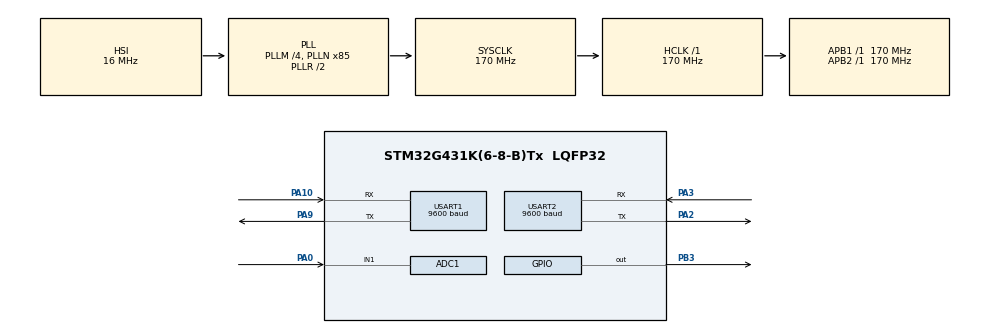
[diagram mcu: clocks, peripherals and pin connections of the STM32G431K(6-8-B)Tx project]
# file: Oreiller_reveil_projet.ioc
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ADC1.Channel-0\#ChannelRegularConversion=ADC_CHANNEL_1
ADC1.NbrOfConversionFlag=1
ADC1.OffsetNumber-0\#ChannelRegularConversion=ADC_OFFSET_NONE
ADC1.Rank-0\#ChannelRegularConversion=1
ADC1.SamplingTime-0\#ChannelRegularConversion=ADC_SAMPLETIME_2CYCLES_5
ADC1.master=1
Mcu.Family=STM32G4
Mcu.Name=STM32G431K(6-8-B)Tx
Mcu.Package=LQFP32
NUCLEO-G431KB.LD2=true
NUCLEO-G431KB.VCP=true
NVIC.PriorityGroup=NVIC_PRIORITYGROUP_4
PA0.Mode=IN1-Single-Ended
PA0.Signal=ADC1_IN1
PA10.Mode=Asynchronous
PA10.Signal=USART1_RX
PA13.GPIO_Label=T_SWDIO
PA13.Signal=SYS_JTMS-SWDIO
PA14.GPIO_Label=T_SWCLK
PA14.Signal=SYS_JTCK-SWCLK
PA2.Mode=Asynchronous
PA2.Signal=USART2_TX
PA3.Mode=Asynchronous
PA3.Signal=USART2_RX
PA9.Mode=Asynchronous
PA9.Signal=USART1_TX
PB3.Signal=GPIO_Output
PB8-BOOT0.Signal=S_TIM16_CH1
ProjectManager.HeapSize=0x200
ProjectManager.StackSize=0x400
ProjectManager.TargetToolchain=STM32CubeIDE
RCC.ADC12Freq_Value=170000000
RCC.AHBFreq_Value=170000000
RCC.APB1Freq_Value=170000000
RCC.APB1TimFreq_Value=170000000
RCC.APB2Freq_Value=170000000
RCC.APB2TimFreq_Value=170000000
RCC.CortexFreq_Value=170000000
RCC.EXTERNAL_CLOCK_VALUE=12288000
RCC.HCLKFreq_Value=170000000
RCC.HSE_VALUE=8000000
RCC.HSI48_VALUE=48000000
RCC.HSI_VALUE=16000000
RCC.LSE_VALUE=32768
RCC.PLLM=RCC_PLLM_DIV4
RCC.PLLN=85
RCC.SYSCLKFreq_VALUE=170000000
RCC.SYSCLKSource=RCC_SYSCLKSOURCE_PLLCLK
RCC.USBFreq_Value=170000000
RCC.VCOOutputFreq_Value=340000000
TIM16.PeriodNoDither=1000-1
TIM16.Prescaler=170-1
USART1.BaudRate=9600
USART1.VirtualMode-Asynchronous=VM_ASYNC
USART2.BaudRate=9600
USART2.VirtualMode-Asynchronous=VM_ASYNC
VP_NUCLEO-G431KB_VS_BSP_COMMON.Mode=COMMON
VP_RTC_VS_RTC_Activate.Mode=RTC_Enabled
VP_RTC_VS_RTC_Calendar.Mode=RTC_Calendar
VP_SYS_VS_DBSignals.Mode=DisableDeadBatterySignals
VP_TIM16_VS_ClockSourceINT.Mode=Enable_Timer
board=NUCLEO-G431KB

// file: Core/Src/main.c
/* USER CODE BEGIN Header */
/**
  ******************************************************************************
  * @file           : main.c
  * @brief          : Main program body
  ******************************************************************************
  * @attention
  *
  * Copyright (c) 2026 STMicroelectronics.
  * All rights reserved.
  *
  * This software is licensed under terms that can be found in the LICENSE file
  * in the root directory of this software component.
  * If no LICENSE file comes with this software, it is provided AS-IS.
  *
  ******************************************************************************
  */
/* USER CODE END Header */
#include "main.h"

/* USER CODE BEGIN Includes */
#include <stdio.h>
#include <string.h>
/* USER CODE END Includes */

COM_InitTypeDef BspCOMInit;

ADC_HandleTypeDef hadc1;

RTC_HandleTypeDef hrtc;

TIM_HandleTypeDef htim16;

UART_HandleTypeDef huart1;
UART_HandleTypeDef huart2;

/* USER CODE BEGIN PV */

uint8_t byte_recu;
RTC_TimeTypeDef sTime;
RTC_DateTypeDef sDate; // Obligatoire pour débloquer la lecture de l'heure
char msg[50];         // Buffer pour préparer le texte à envoyer
uint32_t timer_envoi = 0;
int al_h = -1; // Heure de l'alarme (-1 = désactivée)
int al_m = -1; // Minute de l'alarme
uint8_t alarme_activee = 0; // 0: éteinte, 1: programmée, 2: en train de sonner

/* USER CODE END PV */

void SystemClock_Config(void);
static void MX_GPIO_Init(void);
static void MX_ADC1_Init(void);
static void MX_TIM16_Init(void);
static void MX_USART1_UART_Init(void);
static void MX_RTC_Init(void);
static void MX_USART2_UART_Init(void);

/* USER CODE BEGIN 4 */
void DF_PlayTrack(uint16_t track);
void DF_SetVolume(uint8_t volume);
void DF_Stop(void);
/* USER CODE END 4 */

int main(void)
{

  /* MCU Configuration--------------------------------------------------------*/

  /* Reset of all peripherals, Initializes the Flash interface and the Systick. */
  HAL_Init();

  /* Configure the system clock */
  SystemClock_Config();

  /* Initialize all configured peripherals */
  MX_GPIO_Init();
  MX_ADC1_Init();
  MX_TIM16_Init();
  MX_USART1_UART_Init();
  MX_RTC_Init();
  MX_USART2_UART_Init();

  /* USER CODE BEGIN 2 */
    HAL_Delay(500); // Laisse le temps au module de s'allumer
    DF_SetVolume(20);
    /* USER CODE END 2 */

  /* Initialize leds */
  BSP_LED_Init(LED_GREEN);

  /* Initialize COM1 port (115200, 8 bits (7-bit data + 1 stop bit), no parity */
  BspCOMInit.BaudRate   = 115200;
  BspCOMInit.WordLength = COM_WORDLENGTH_8B;
  BspCOMInit.StopBits   = COM_STOPBITS_1;
  BspCOMInit.Parity     = COM_PARITY_NONE;
  BspCOMInit.HwFlowCtl  = COM_HWCONTROL_NONE;
  if (BSP_COM_Init(COM1, &BspCOMInit) != BSP_ERROR_NONE)
  {
    Error_Handler();
  }

  /* Infinite loop */
  /* USER CODE BEGIN WHILE */
  while (1)
  {
      // --- 1. RÉCEPTION BLUETOOTH ---
      if (HAL_UART_Receive(&huart1, &byte_recu, 1, 10) == HAL_OK) {

          // REGLER L'HEURE "s+heure format 2424" (ex:s2012)
          if (byte_recu == 's') {
              uint8_t buffer[4];
              if (HAL_UART_Receive(&huart1, buffer, 4, 500) == HAL_OK) {
                  sTime.Hours = (buffer[0] - '0') * 10 + (buffer[1] - '0');
                  sTime.Minutes = (buffer[2] - '0') * 10 + (buffer[3] - '0');
                  sTime.Seconds = 0;
                  HAL_RTC_SetTime(&hrtc, &sTime, RTC_FORMAT_BIN);
                  HAL_UART_Transmit(&huart1, (uint8_t*)"Heure OK!\r\n", 11, 100);
              }
          }

          // REGLER L'ALARME "a+heure format 2424" (ex:a2012)
          else if (byte_recu == 'a') {
              uint8_t buffer[4];
              if (HAL_UART_Receive(&huart1, buffer, 4, 500) == HAL_OK) {
                  al_h = (buffer[0] - '0') * 10 + (buffer[1] - '0');
                  al_m = (buffer[2] - '0') * 10 + (buffer[3] - '0');
                  alarme_activee = 1; // Alarme programmée
                  sprintf(msg, "Alarme reglee: %02d:%02d\r\n", al_h, al_m);
                  HAL_UART_Transmit(&huart1, (uint8_t*)msg, strlen(msg), 100);
              }
          }

          // STOPPER L'ALARME "x"
          else if (byte_recu == 'x') {
              alarme_activee = 0;
              HAL_GPIO_WritePin(GPIOB, GPIO_PIN_3, GPIO_PIN_RESET);
              DF_Stop();
              HAL_UART_Transmit(&huart1, (uint8_t*)"Alarme stop\r\n", 16, 100);
          }
      }

      // --- 2. LOGIQUE DE L'HORLOGE ET COMPARAISON ---
      if (HAL_GetTick() - timer_envoi > 1000) {
          HAL_RTC_GetTime(&hrtc, &sTime, RTC_FORMAT_BIN);
          HAL_RTC_GetDate(&hrtc, &sDate, RTC_FORMAT_BIN);

          // Affichage sur le téléphone toutes les secondes
          sprintf(msg, "Heure: %02d:%02d:%02d\r\n", sTime.Hours, sTime.Minutes, sTime.Seconds);
          HAL_UART_Transmit(&huart1, (uint8_t*)msg, strlen(msg), 100);

          // Vérification de l'alarme
          if (alarme_activee == 1 && sTime.Hours == al_h && sTime.Minutes == al_m) {
              alarme_activee = 2;
              HAL_UART_Transmit(&huart1, (uint8_t*)"!!! ALARME !!!\r\n", 16, 100);
              DF_PlayTrack(1);
          }

          timer_envoi = HAL_GetTick();
      }

      // --- 3. GESTION DU VIBREUR ---
      if (alarme_activee == 2) {
          if ((HAL_GetTick() / 500) % 2) {
              HAL_GPIO_WritePin(GPIOB, GPIO_PIN_3, GPIO_PIN_SET);
          } else {
              HAL_GPIO_WritePin(GPIOB, GPIO_PIN_3, GPIO_PIN_RESET);
          }
      }

    /* USER CODE END WHILE */

  }
}

void SystemClock_Config(void)
{
  RCC_OscInitTypeDef RCC_OscInitStruct = {0};
  RCC_ClkInitTypeDef RCC_ClkInitStruct = {0};

  /** Configure the main internal regulator output voltage
  */
  HAL_PWREx_ControlVoltageScaling(PWR_REGULATOR_VOLTAGE_SCALE1_BOOST);

  /** Initializes the RCC Oscillators according to the specified parameters
  * in the RCC_OscInitTypeDef structure.
  */
  RCC_OscInitStruct.OscillatorType = RCC_OSCILLATORTYPE_HSI|RCC_OSCILLATORTYPE_LSI;
  RCC_OscInitStruct.HSIState = RCC_HSI_ON;
  RCC_OscInitStruct.HSICalibrationValue = RCC_HSICALIBRATION_DEFAULT;
  RCC_OscInitStruct.LSIState = RCC_LSI_ON;
  RCC_OscInitStruct.PLL.PLLState = RCC_PLL_ON;
  RCC_OscInitStruct.PLL.PLLSource = RCC_PLLSOURCE_HSI;
  RCC_OscInitStruct.PLL.PLLM = RCC_PLLM_DIV4;
  RCC_OscInitStruct.PLL.PLLN = 85;
  RCC_OscInitStruct.PLL.PLLP = RCC_PLLP_DIV2;
  RCC_OscInitStruct.PLL.PLLQ = RCC_PLLQ_DIV2;
  RCC_OscInitStruct.PLL.PLLR = RCC_PLLR_DIV2;
  if (HAL_RCC_OscConfig(&RCC_OscInitStruct) != HAL_OK)
  {
    Error_Handler();
  }

  /** Initializes the CPU, AHB and APB buses clocks
  */
  RCC_ClkInitStruct.ClockType = RCC_CLOCKTYPE_HCLK|RCC_CLOCKTYPE_SYSCLK
                              |RCC_CLOCKTYPE_PCLK1|RCC_CLOCKTYPE_PCLK2;
  RCC_ClkInitStruct.SYSCLKSource = RCC_SYSCLKSOURCE_PLLCLK;
  RCC_ClkInitStruct.AHBCLKDivider = RCC_SYSCLK_DIV1;
  RCC_ClkInitStruct.APB1CLKDivider = RCC_HCLK_DIV1;
  RCC_ClkInitStruct.APB2CLKDivider = RCC_HCLK_DIV1;

  if (HAL_RCC_ClockConfig(&RCC_ClkInitStruct, FLASH_LATENCY_4) != HAL_OK)
  {
    Error_Handler();
  }
}

static void MX_ADC1_Init(void)
{

  ADC_MultiModeTypeDef multimode = {0};
  ADC_ChannelConfTypeDef sConfig = {0};

  /** Common config
  */
  hadc1.Instance = ADC1;
  hadc1.Init.ClockPrescaler = ADC_CLOCK_SYNC_PCLK_DIV4;
  hadc1.Init.Resolution = ADC_RESOLUTION_12B;
  hadc1.Init.DataAlign = ADC_DATAALIGN_RIGHT;
  hadc1.Init.GainCompensation = 0;
  hadc1.Init.ScanConvMode = ADC_SCAN_DISABLE;
  hadc1.Init.EOCSelection = ADC_EOC_SINGLE_CONV;
  hadc1.Init.LowPowerAutoWait = DISABLE;
  hadc1.Init.ContinuousConvMode = DISABLE;
  hadc1.Init.NbrOfConversion = 1;
  hadc1.Init.DiscontinuousConvMode = DISABLE;
  hadc1.Init.ExternalTrigConv = ADC_SOFTWARE_START;
  hadc1.Init.ExternalTrigConvEdge = ADC_EXTERNALTRIGCONVEDGE_NONE;
  hadc1.Init.DMAContinuousRequests = DISABLE;
  hadc1.Init.Overrun = ADC_OVR_DATA_PRESERVED;
  hadc1.Init.OversamplingMode = DISABLE;
  if (HAL_ADC_Init(&hadc1) != HAL_OK)
  {
    Error_Handler();
  }

  /** Configure the ADC multi-mode
  */
  multimode.Mode = ADC_MODE_INDEPENDENT;
  if (HAL_ADCEx_MultiModeConfigChannel(&hadc1, &multimode) != HAL_OK)
  {
    Error_Handler();
  }

  /** Configure Regular Channel
  */
  sConfig.Channel = ADC_CHANNEL_1;
  sConfig.Rank = ADC_REGULAR_RANK_1;
  sConfig.SamplingTime = ADC_SAMPLETIME_2CYCLES_5;
  sConfig.SingleDiff = ADC_SINGLE_ENDED;
  sConfig.OffsetNumber = ADC_OFFSET_NONE;
  sConfig.Offset = 0;
  if (HAL_ADC_ConfigChannel(&hadc1, &sConfig) != HAL_OK)
  {
    Error_Handler();
  }

}

static void MX_RTC_Init(void)
{

  RTC_TimeTypeDef sTime = {0};
  RTC_DateTypeDef sDate = {0};

  /** Initialize RTC Only
  */
  hrtc.Instance = RTC;
  hrtc.Init.HourFormat = RTC_HOURFORMAT_24;
  hrtc.Init.AsynchPrediv = 127;
  hrtc.Init.SynchPrediv = 255;
  hrtc.Init.OutPut = RTC_OUTPUT_DISABLE;
  hrtc.Init.OutPutRemap = RTC_OUTPUT_REMAP_NONE;
  hrtc.Init.OutPutPolarity = RTC_OUTPUT_POLARITY_HIGH;
  hrtc.Init.OutPutType = RTC_OUTPUT_TYPE_OPENDRAIN;
  hrtc.Init.OutPutPullUp = RTC_OUTPUT_PULLUP_NONE;
  if (HAL_RTC_Init(&hrtc) != HAL_OK)
  {
    Error_Handler();
  }

  /** Initialize RTC and set the Time and Date
  */
  sTime.Hours = 0x0;
  sTime.Minutes = 0x0;
  sTime.Seconds = 0x0;
  sTime.SubSeconds = 0x0;
  sTime.DayLightSaving = RTC_DAYLIGHTSAVING_NONE;
  sTime.StoreOperation = RTC_STOREOPERATION_RESET;
  if (HAL_RTC_SetTime(&hrtc, &sTime, RTC_FORMAT_BCD) != HAL_OK)
  {
    Error_Handler();
  }
  sDate.WeekDay = RTC_WEEKDAY_MONDAY;
  sDate.Month = RTC_MONTH_JANUARY;
  sDate.Date = 0x1;
  sDate.Year = 0x0;

  if (HAL_RTC_SetDate(&hrtc, &sDate, RTC_FORMAT_BCD) != HAL_OK)
  {
    Error_Handler();
  }

}

static void MX_TIM16_Init(void)
{

  htim16.Instance = TIM16;
  htim16.Init.Prescaler = 170-1;
  htim16.Init.CounterMode = TIM_COUNTERMODE_UP;
  htim16.Init.Period = 999;
  htim16.Init.ClockDivision = TIM_CLOCKDIVISION_DIV1;
  htim16.Init.RepetitionCounter = 0;
  htim16.Init.AutoReloadPreload = TIM_AUTORELOAD_PRELOAD_DISABLE;
  if (HAL_TIM_Base_Init(&htim16) != HAL_OK)
  {
    Error_Handler();
  }

}

static void MX_USART1_UART_Init(void)
{

  huart1.Instance = USART1;
  huart1.Init.BaudRate = 9600;
  huart1.Init.WordLength = UART_WORDLENGTH_8B;
  huart1.Init.StopBits = UART_STOPBITS_1;
  huart1.Init.Parity = UART_PARITY_NONE;
  huart1.Init.Mode = UART_MODE_TX_RX;
  huart1.Init.HwFlowCtl = UART_HWCONTROL_NONE;
  huart1.Init.OverSampling = UART_OVERSAMPLING_16;
  huart1.Init.OneBitSampling = UART_ONE_BIT_SAMPLE_DISABLE;
  huart1.Init.ClockPrescaler = UART_PRESCALER_DIV1;
  huart1.AdvancedInit.AdvFeatureInit = UART_ADVFEATURE_NO_INIT;
  if (HAL_UART_Init(&huart1) != HAL_OK)
  {
    Error_Handler();
  }
  if (HAL_UARTEx_SetTxFifoThreshold(&huart1, UART_TXFIFO_THRESHOLD_1_8) != HAL_OK)
  {
    Error_Handler();
  }
  if (HAL_UARTEx_SetRxFifoThreshold(&huart1, UART_RXFIFO_THRESHOLD_1_8) != HAL_OK)
  {
    Error_Handler();
  }
  if (HAL_UARTEx_DisableFifoMode(&huart1) != HAL_OK)
  {
    Error_Handler();
  }

}

static void MX_USART2_UART_Init(void)
{

  huart2.Instance = USART2;
  huart2.Init.BaudRate = 9600;
  huart2.Init.WordLength = UART_WORDLENGTH_8B;
  huart2.Init.StopBits = UART_STOPBITS_1;
  huart2.Init.Parity = UART_PARITY_NONE;
  huart2.Init.Mode = UART_MODE_TX_RX;
  huart2.Init.HwFlowCtl = UART_HWCONTROL_NONE;
  huart2.Init.OverSampling = UART_OVERSAMPLING_16;
  huart2.Init.OneBitSampling = UART_ONE_BIT_SAMPLE_DISABLE;
  huart2.Init.ClockPrescaler = UART_PRESCALER_DIV1;
  huart2.AdvancedInit.AdvFeatureInit = UART_ADVFEATURE_NO_INIT;
  if (HAL_UART_Init(&huart2) != HAL_OK)
  {
    Error_Handler();
  }
  if (HAL_UARTEx_SetTxFifoThreshold(&huart2, UART_TXFIFO_THRESHOLD_1_8) != HAL_OK)
  {
    Error_Handler();
  }
  if (HAL_UARTEx_SetRxFifoThreshold(&huart2, UART_RXFIFO_THRESHOLD_1_8) != HAL_OK)
  {
    Error_Handler();
  }
  if (HAL_UARTEx_DisableFifoMode(&huart2) != HAL_OK)
  {
    Error_Handler();
  }

}

static void MX_GPIO_Init(void)
{
  GPIO_InitTypeDef GPIO_InitStruct = {0};

  /* GPIO Ports Clock Enable */
  __HAL_RCC_GPIOA_CLK_ENABLE();
  __HAL_RCC_GPIOB_CLK_ENABLE();

  /*Configure GPIO pin Output Level */
  HAL_GPIO_WritePin(GPIOB, GPIO_PIN_3, GPIO_PIN_RESET);

  /*Configure GPIO pin : PB3 */
  GPIO_InitStruct.Pin = GPIO_PIN_3;
  GPIO_InitStruct.Mode = GPIO_MODE_OUTPUT_PP;
  GPIO_InitStruct.Pull = GPIO_NOPULL;
  GPIO_InitStruct.Speed = GPIO_SPEED_FREQ_LOW;
  HAL_GPIO_Init(GPIOB, &GPIO_InitStruct);

}

/* USER CODE BEGIN 4 */
void DF_PlayTrack(uint16_t track) {
    // Format : Start | Version | Length | Command | Feedback | Para_MSB | Para_LSB | End
    uint8_t buf[8] = {0x7E, 0xFF, 0x06, 0x03, 0x00, (uint8_t)(track >> 8), (uint8_t)(track & 0xFF), 0xEF};
    HAL_UART_Transmit(&huart2, buf, 8, 100);
}

void DF_SetVolume(uint8_t volume) {
    if (volume > 30) volume = 30; // Max 30
    uint8_t buf[8] = {0x7E, 0xFF, 0x06, 0x06, 0x00, 0x00, volume, 0xEF};
    HAL_UART_Transmit(&huart2, buf, 8, 100);
}

void DF_Stop() {
    uint8_t buf[8] = {0x7E, 0xFF, 0x06, 0x16, 0x00, 0x00, 0x00, 0xEF};
    HAL_UART_Transmit(&huart2, buf, 8, 100);
}
/* USER CODE END 4 */

/* USER CODE BEGIN Header */
/**
  ******************************************************************************
  * @file           : main.c
  * @brief          : Main program body
  ******************************************************************************
  * @attention
  *
  * Copyright (c) 2026 STMicroelectronics.
  * All rights reserved.
  *
  * This software is licensed under terms that can be found in the LICENSE file
  * in the root directory of this software component.
  * If no LICENSE file comes with this software, it is provided AS-IS.
  *
  ******************************************************************************
  */
/* USER CODE END Header */

void Error_Handler(void)
{
  __disable_irq();
  while (1)
  {
  }
}
